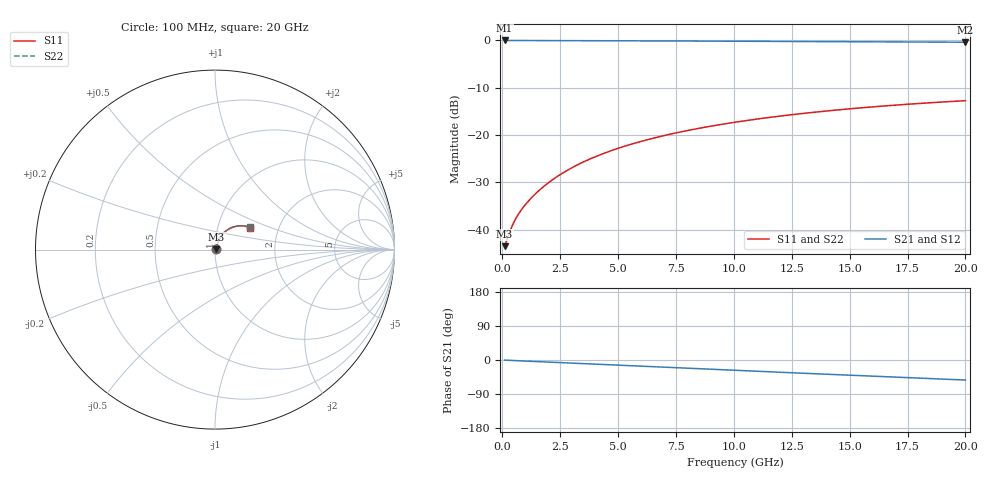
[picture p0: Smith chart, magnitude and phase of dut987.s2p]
! Touchstone file exported from HFSS 2026.1.0
!  File:  C:/ffzhzh/LocalFiles/Ansys_Project_Files/temp_train_TMRDL_987_1783159301_18472.aedt
!  Generated:  06:02:50 PM Jul  4, 2026
!  Design:  TMRDL
!  Project:  temp_train_TMRDL_987_1783159301_18472
! Variables:
!  h_bsmrdl = 2um
!  h_ox = 20um
!  h_rdl = 5um
!  h_sub = 80um
!  h_tmrdl = 2.52um
!  h_tsv = 80um
!  h_via = 3um
!  l_bsmrdl = 300um
!  l_sub = 1311.78um
!  l_tmrdl = 911.78um
!  m_sub = 200um
!  pitch = 28.84um
!  r_tsv = 6um
!  s_tmrdl = 10um
!  w_bsmrdl = 18um
!  w_sub = 500um
!  w_tmrdl = 20.69um
!  x_tsv_center1 = 922.125um
!  x_tsv_center2 = 1240.125um
!  x_tsv_center3 = 2172.595um
!  x_tsv_center4 = 2490.595um
!  x_tsv_center5 = 3423.065um
!  x_tsv_center6 = 3741.065um
# GHz S MA R 50.000000
! Terminal data exported
! Port[1] = TM_RDL1_1_T1
! Port[2] = TM_RDL1_1_T2
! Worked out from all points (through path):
!   200 points, 100 MHz to 20 GHz, reference 50 ohm
!   highest |S21| = -0.06 dB at 100 MHz (marker M1); lowest = -0.4 dB at 20 GHz (marker M2)
!   group delay of S21, straight-line fit = 7.34 ps
!   lowest |S11| = -43.4 dB at 100 MHz (marker M3), VSWR 1.01, Z = 50.6 + j0.206 ohm
!   |S11| at or under -10 dB: start of sweep to end of sweep
!   |S22| runs from -43.4 to -12.8 dB; largest |S21 - S12| = 2.8e-15
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0.1  0.006731 17.6  0.9936 -0.3  0.9936 -0.3  0.006731 17.6
! Gamma 0 0 0 0
! Port Impedance 50 0 50 0
0.4  0.01062 44.0  0.9925 -1.2  0.9925 -1.2  0.01062 44.0
0.5  0.01202 47.6  0.9921 -1.5  0.9921 -1.5  0.01202 47.6
0.6  0.01337 50.4  0.9917 -1.8  0.9917 -1.8  0.01337 50.4
0.7  0.01468 52.6  0.9914 -2.0  0.9914 -2.0  0.01468 52.6
0.9  0.01723 56.2  0.991 -2.6  0.991 -2.6  0.01723 56.2
1.2  0.02103 60.2  0.9905 -3.4  0.9905 -3.4  0.02103 60.2
1.4  0.0236 62.2  0.9902 -3.9  0.9902 -3.9  0.0236 62.2
1.7  0.02752 64.5  0.9899 -4.7  0.9899 -4.7  0.02752 64.5
2.2  0.0342 66.8  0.9894 -6.1  0.9894 -6.1  0.03419 66.8
2.8  0.04235 68.1  0.9888 -7.7  0.9888 -7.7  0.04235 68.2
3.5  0.05195 68.5  0.988 -9.6  0.988 -9.6  0.05195 68.5
4.2  0.06153 68.1  0.9871 -11.5  0.9871 -11.5  0.06153 68.1
5  0.0724 67.1  0.9859 -13.7  0.9859 -13.7  0.0724 67.2
5.9  0.08446 65.6  0.9844 -16.1  0.9844 -16.1  0.08445 65.7
6.8  0.09627 63.8  0.9827 -18.6  0.9827 -18.6  0.09627 63.9
8.3  0.1153 60.6  0.9795 -22.6  0.9795 -22.6  0.1153 60.6
10.1  0.137 56.3  0.9754 -27.4  0.9754 -27.4  0.137 56.4
11.7  0.1552 52.5  0.9716 -31.6  0.9716 -31.6  0.1552 52.6
13.4  0.1732 48.3  0.9674 -36.0  0.9674 -36.0  0.1732 48.4
16.7  0.2044 40.2  0.9594 -44.5  0.9594 -44.5  0.2044 40.4
20  0.2303 32.2  0.9521 -52.9  0.9521 -52.9  0.2303 32.4
